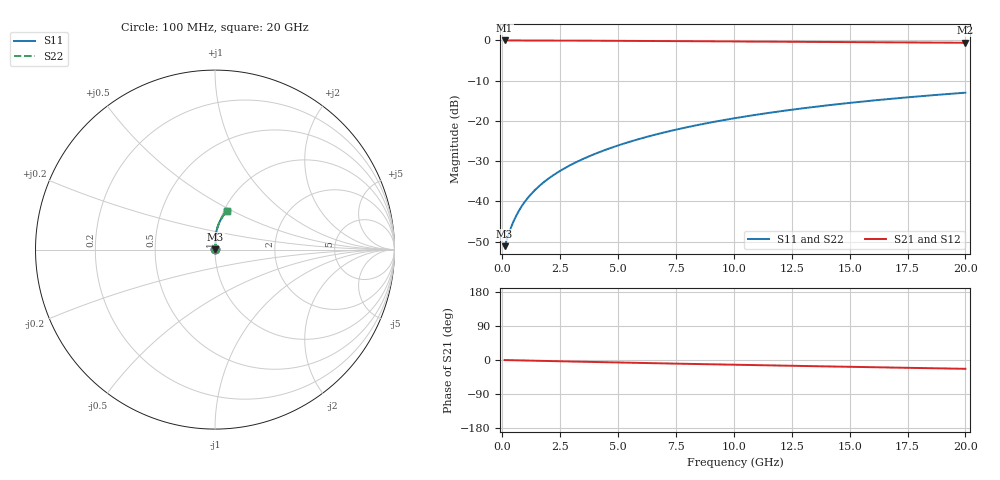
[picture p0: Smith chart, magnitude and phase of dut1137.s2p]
! Touchstone file exported from HFSS 2024.1.0
!  File:  C:/UserFiles/LocalFiles/RDL_TSV_Batchsim/temp_RDL_top_1137_1780047660.aedt
!  Generated:  05:43:12 PM May 29, 2026
!  Design:  RDL_top
!  Project:  temp_RDL_top_1137_1780047660
!  Setup:  Setup1
!  Solution:  Sweep
! Variables:
!  dtsv = 10.80580581um
!  hbump = 3um
!  htsv = 63.1um
!  ldown = 100um
!  lrdl = 318.16um
!  p = 40
!  p1 = 44.47um
!  rhole = 1um
!  t = 450um
!  tdown = 3.915915916um
!  trdl = 2.19um
!  wdown = 15.38538539um
!  wrdl = 23.71um
# GHz S MA R 50.000000
! Terminal data exported
! Port[1] = Box2_T1
! Port[2] = Box2_T2
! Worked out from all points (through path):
!   200 points, 100 MHz to 20 GHz, reference 50 ohm
!   highest |S21| = -0.02 dB at 100 MHz (marker M1); lowest = -0.6 dB at 20 GHz (marker M2)
!   group delay of S21, straight-line fit = 3.2 ps
!   lowest |S11| = -51.2 dB at 100 MHz (marker M3), VSWR 1.01, Z = 50.3 + j0.108 ohm
!   |S11| at or under -10 dB: start of sweep to end of sweep
!   |S22| runs from -51.2 to -13.0 dB; largest |S21 - S12| = 3e-15
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0.1  0.002769 22.8  0.9974 -0.1  0.9974 -0.1  0.002769 22.8
! Gamma 0 0 0 0
! Port Impedance 50 0 50 0
0.3  0.004113 48.8  0.9972 -0.4  0.9972 -0.4  0.004115 48.8
0.4  0.004918 55.6  0.9971 -0.6  0.9971 -0.6  0.00492 55.6
0.6  0.006608 64.1  0.9968 -0.8  0.9968 -0.8  0.006609 64.1
0.7  0.007475 67.0  0.9967 -1.0  0.9967 -1.0  0.007475 67.0
0.9  0.009233 71.2  0.9964 -1.2  0.9964 -1.2  0.009232 71.2
1.2  0.01191 75.3  0.9961 -1.6  0.9961 -1.6  0.0119 75.3
1.4  0.01371 77.3  0.9958 -1.9  0.9958 -1.9  0.01371 77.3
1.7  0.01644 79.5  0.9954 -2.3  0.9954 -2.3  0.01644 79.5
2.2  0.02107 82.2  0.9945 -3.0  0.9945 -3.0  0.02107 82.2
2.8  0.0268 84.3  0.9933 -3.8  0.9933 -3.8  0.0268 84.3
3.5  0.03372 85.9  0.9917 -4.7  0.9917 -4.7  0.03372 85.9
4.2  0.0409 86.9  0.9898 -5.6  0.9898 -5.6  0.0409 86.9
5  0.04942 87.6  0.9873 -6.6  0.9873 -6.6  0.04941 87.6
5.9  0.05934 87.8  0.9844 -7.7  0.9844 -7.7  0.05933 87.8
6.8  0.06956 87.6  0.9813 -8.8  0.9813 -8.8  0.06956 87.6
8.4  0.08828 86.7  0.9756 -10.6  0.9756 -10.6  0.08827 86.7
10.1  0.1086 85.1  0.9695 -12.6  0.9695 -12.6  0.1086 85.1
11.7  0.1278 83.4  0.9637 -14.4  0.9637 -14.4  0.1278 83.4
13.4  0.1482 81.4  0.9575 -16.3  0.9575 -16.3  0.1481 81.4
16.7  0.1868 77.4  0.9455 -19.8  0.9455 -19.8  0.1868 77.3
20  0.2238 73.4  0.9334 -23.3  0.9334 -23.3  0.2238 73.3
